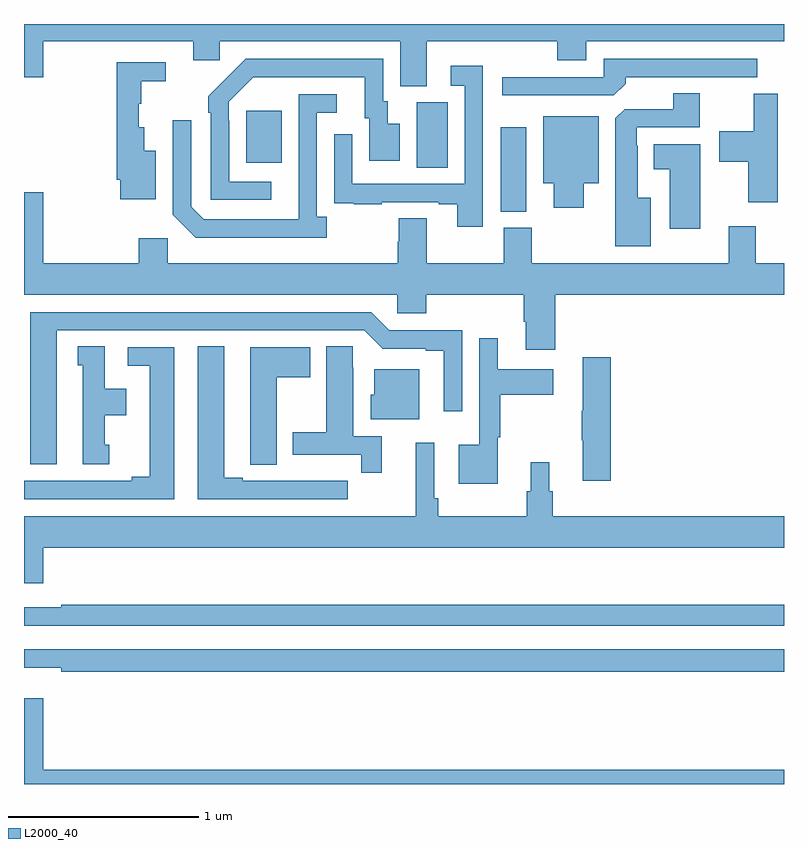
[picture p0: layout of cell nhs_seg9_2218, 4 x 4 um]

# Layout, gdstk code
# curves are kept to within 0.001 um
import gdstk
lib = gdstk.Library(unit=1e-6, precision=1e-09)
def R(c, l, rs):  # rectangles x0, y0, x1, y1
    for r in rs: c.add(gdstk.rectangle(r[:2], r[2:], *l))
def P(c, l, *ps):  # polygons
    for p in ps: c.add(gdstk.Polygon(p, *l))
L2000_40 = (2000, 40)

nhs_seg9_2218 = lib.new_cell('nhs_seg9_2218')
R(nhs_seg9_2218, L2000_40, [(239.51,1207.513,239.644,1207.957), (239.066,1207.744,239.23,1208.088), (238.169,1207.769,238.357,1208.044)])
P(nhs_seg9_2218, L2000_40, [(239.119,1208.408),(239.807,1208.408),(239.807,1208.309),(239.959,1208.309),(239.959,1208.408),(241,1208.408),(241,1208.5),(237,1208.5),(237,1208.22),(237.1,1208.22),(237.1,1208.408),(237.89,1208.408),(237.89,1208.31),(238.029,1208.31),(238.029,1208.408),(238.979,1208.408),(238.979,1208.173),(239.119,1208.173)],
  [(238.3,1207.671),(238.08,1207.671),(238.08,1207.991),(238.077,1207.991),(238.077,1208.091),(238.206,1208.22),(238.793,1208.22),(238.793,1208.004),(238.817,1208.004),(238.817,1207.779),(238.978,1207.779),(238.978,1207.975),(238.915,1207.975),(238.915,1208.094),(238.89,1208.094),(238.89,1208.316),(238.166,1208.316),(237.969,1208.121),(237.969,1208.033),(237.984,1208.033),(237.984,1207.575),(238.3,1207.575)],
  [(240.167,1208.186),(240.167,1208.22),(240.859,1208.22),(240.859,1208.316),(240.051,1208.316),(240.051,1208.22),(239.517,1208.22),(239.517,1208.124),(240.105,1208.124)],
  [(237.694,1207.834),(237.634,1207.834),(237.634,1207.957),(237.605,1207.957),(237.605,1208.079),(237.616,1208.079),(237.616,1208.2),(237.745,1208.2),(237.745,1208.298),(237.487,1208.298),(237.487,1207.681),(237.506,1207.681),(237.506,1207.577),(237.694,1207.577)],
  [(239.415,1208.281),(239.247,1208.281),(239.247,1208.175),(239.319,1208.175),(239.319,1207.659),(238.728,1207.659),(238.728,1207.921),(238.632,1207.921),(238.632,1207.666),(238.633,1207.666),(238.633,1207.557),(238.735,1207.557),(238.735,1207.551),(238.883,1207.551),(238.883,1207.563),(239.183,1207.563),(239.183,1207.551),(239.279,1207.551),(239.279,1207.434),(239.415,1207.434)],
  [(240.298,1207.585),(240.229,1207.585),(240.229,1207.859),(240.225,1207.859),(240.225,1207.956),(240.556,1207.956),(240.556,1208.135),(240.416,1208.135),(240.416,1208.052),(240.162,1208.052),(240.113,1208.003),(240.113,1207.331),(240.298,1207.331)],
  [(240.967,1208.134),(240.842,1208.134),(240.842,1207.936),(240.66,1207.936),(240.66,1207.774),(240.812,1207.774),(240.812,1207.563),(240.967,1207.563)],
  [(238.594,1207.486),(238.542,1207.486),(238.542,1208.034),(238.645,1208.034),(238.645,1208.13),(238.446,1208.13),(238.445,1207.473),(237.945,1207.473),(237.879,1207.539),(237.879,1207.993),(237.783,1207.993),(237.783,1207.497),(237.904,1207.376),(238.594,1207.376)],
  [(239.947,1207.661),(240.025,1207.661),(240.025,1208.014),(239.732,1208.014),(239.732,1207.661),(239.789,1207.661),(239.789,1207.533),(239.947,1207.533)],
  [(240.559,1207.867),(240.314,1207.867),(240.314,1207.736),(240.398,1207.736),(240.398,1207.422),(240.559,1207.422)],
  [(239.795,1207.076),(241,1207.076),(241,1207.24),(240.85,1207.24),(240.85,1207.435),(240.71,1207.435),(240.71,1207.24),(239.673,1207.24),(239.673,1207.428),(239.525,1207.428),(239.525,1207.24),(239.119,1207.24),(239.119,1207.478),(238.972,1207.478),(238.972,1207.353),(238.967,1207.353),(238.967,1207.24),(237.756,1207.24),(237.756,1207.372),(237.605,1207.372),(237.605,1207.24),(237.1,1207.24),(237.1,1207.615),(237,1207.615),(237,1207.076),(238.965,1207.076),(238.965,1206.978),(239.117,1206.978),(239.117,1207.076),(239.63,1207.076),(239.63,1206.934),(239.642,1206.934),(239.642,1206.786),(239.795,1206.786)],
  [(237.172,1206.888),(238.791,1206.888),(238.887,1206.792),(239.114,1206.792),(239.114,1206.78),(239.21,1206.78),(239.21,1206.462),(239.307,1206.462),(239.307,1206.888),(238.923,1206.888),(238.827,1206.984),(237.032,1206.984),(237.032,1206.183),(237.172,1206.183)],
  [(239.494,1206.324),(239.506,1206.324),(239.506,1206.548),(239.785,1206.548),(239.785,1206.682),(239.494,1206.682),(239.494,1206.847),(239.397,1206.847),(239.397,1206.286),(239.288,1206.286),(239.288,1206.08),(239.494,1206.08)],
  [(238.883,1206.33),(238.732,1206.33),(238.732,1206.692),(238.731,1206.692),(238.731,1206.803),(238.592,1206.803),(238.592,1206.351),(238.415,1206.351),(238.415,1206.234),(238.774,1206.234),(238.774,1206.138),(238.883,1206.138)],
  [(238.705,1206.096),(238.592,1206.096),(238.592,1206.097),(238.426,1206.097),(238.426,1206.096),(238.15,1206.096),(238.15,1206.111),(238.054,1206.111),(238.054,1206.803),(237.914,1206.803),(237.914,1206),(238.705,1206)],
  [(237.448,1206.285),(237.424,1206.285),(237.424,1206.44),(237.538,1206.44),(237.538,1206.58),(237.424,1206.58),(237.424,1206.803),(237.284,1206.803),(237.284,1206.705),(237.308,1206.705),(237.308,1206.183),(237.448,1206.183)],
  [(238.33,1206.64),(238.507,1206.64),(238.507,1206.799),(238.19,1206.799),(238.19,1206.289),(238.191,1206.289),(238.191,1206.181),(238.33,1206.181)],
  [(237.79,1206.798),(237.546,1206.798),(237.546,1206.702),(237.662,1206.702),(237.662,1206.116),(237.566,1206.116),(237.566,1206.096),(237,1206.096),(237,1206),(237.79,1206)],
  [(240.089,1206.745),(239.942,1206.745),(239.942,1206.464),(239.935,1206.464),(239.935,1206.308),(239.942,1206.308),(239.942,1206.096),(240.089,1206.096)],
  [(239.08,1206.682),(238.844,1206.682),(238.844,1206.549),(238.826,1206.549),(238.826,1206.419),(239.08,1206.419)],
  [(237.1,1205.744),(241,1205.744),(241,1205.908),(239.783,1205.908),(239.783,1206.042),(239.764,1206.042),(239.764,1206.193),(239.666,1206.193),(239.666,1206.042),(239.647,1206.042),(239.647,1205.908),(239.18,1205.908),(239.18,1206.004),(239.16,1206.004),(239.16,1206.295),(239.063,1206.295),(239.063,1205.908),(237,1205.908),(237,1205.556),(237.1,1205.556)],
  [(241,1205.443),(237.196,1205.443),(237.196,1205.43),(237,1205.43),(237,1205.334),(241,1205.334)],
  [(241,1205.208),(237,1205.208),(237,1205.111),(237.196,1205.111),(237.196,1205.092),(241,1205.092)],
  [(241,1204.576),(237.1,1204.576),(237.1,1204.951),(237,1204.951),(237,1204.5),(241,1204.5)])

lib.write_gds('nhs_seg9_2218.gds')
